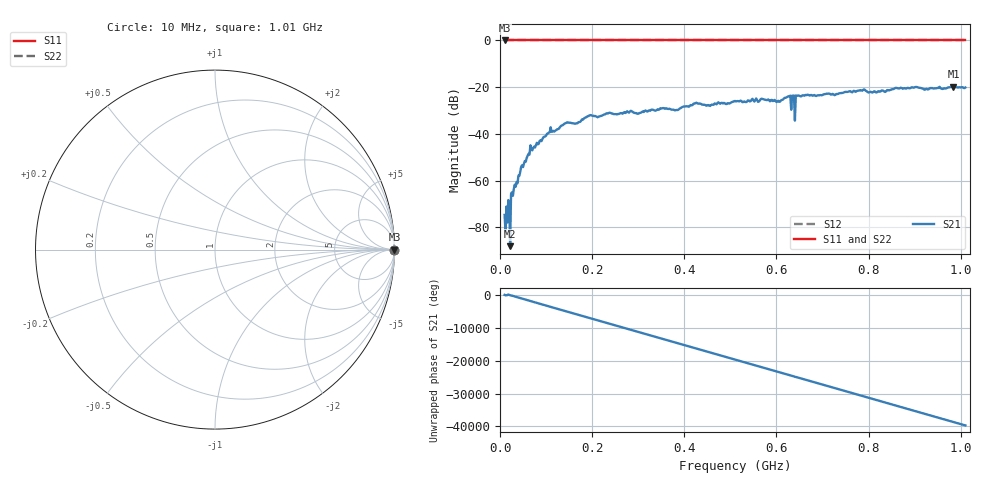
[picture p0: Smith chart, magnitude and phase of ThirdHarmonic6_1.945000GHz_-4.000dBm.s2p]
! 8/16/2025 11:25:25 PM
! C:\ANRITSUVNA\TEMP\TEMP.S2P
! CHANNEL.1
! TR.MEASUREMENT
! RAW.DATA
! RF.CORRECTION.OFF
! AVERAGING.OFF
! IF.BANDWIDTH: 5KHZ
! SWEEPTYPE:  FREQ.SWEEP(Linear)
! Reference Plane Port Info
! PORT:  PORT1  PORT2
! DISTANCE:  0  m  0  m
! TIME:  0  s  0  s
! PHASE.OFFSET:  0  deg.  0  deg.
! LOSS:  0  dB  0  dB
! REF.LOSS:  0  dB  0  dB
! REF.FREQ:  0  Hz  0  Hz
! Power Info
! POWER:  -20  dBm  -20  dBm
! EFF.POWER:  -20  dBm  -20  dBm
! SOURCE.ATTEN:  0  dB  0  dB
! TEST.ATTEN:  0  dB  0  dB
# GHZ S RI R 50.0
! FREQ.GHZ  S11RE  S11IM  S21RE  S21IM  S12RE  S12IM  S22RE  S22IM
!; PortSelection: Port_12
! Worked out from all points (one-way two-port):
!   501 points, 10 MHz to 1.01 GHz, reference 50 ohm
!   highest |S21| = -19.82 dB at 984 MHz (marker M1); lowest = -88.1 dB at 22 MHz (marker M2)
!   lowest |S11| = 0.0 dB at 10 MHz (marker M3)
!   |S11| at or under -10 dB: nowhere
!   |S22| runs from 0.0 to 0.0 dB; largest |S21 - S12| = 1.1
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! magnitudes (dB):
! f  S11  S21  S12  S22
! 10 MHz  0.0  -74.7  0.0  0.0
! 18 MHz  0.0  -68.4  0.0  0.0
! 22 MHz  0.0  -88.1  0.0  0.0
! 26 MHz  0.0  -65.0  0.0  0.0
! 28 MHz  0.0  -66.5  0.0  0.0
! 44 MHz  0.0  -56.2  0.0  0.0
! 70 MHz  0.0  -47.1  0.0  0.0
! 106 MHz  0.0  -39.5  0.0  0.0
! 178 MHz  0.0  -33.8  0.0  0.0
! 194 MHz  0.0  -32.1  0.0  0.0
! 344 MHz  0.0  -29.7  0.0  0.0
! 510 MHz  0.0  -25.9  0.0  0.0
! 604 MHz  0.0  -25.8  0.0  0.0
! 626 MHz  0.0  -23.9  0.0  0.0
! 634 MHz  0.0  -23.6  0.0  0.0
! 636 MHz  0.0  -23.6  0.0  0.0
! 644 MHz  0.0  -23.8  0.0  0.0
! 646 MHz  0.0  -23.6  0.0  0.0
! 678 MHz  0.0  -23.7  0.0  0.0
! 844 MHz  0.0  -21.4  0.0  0.0
! 984 MHz  0.0  -19.8  0.0  0.0
! 1.01 GHz  0.0  -20.2  0.0  0.0
